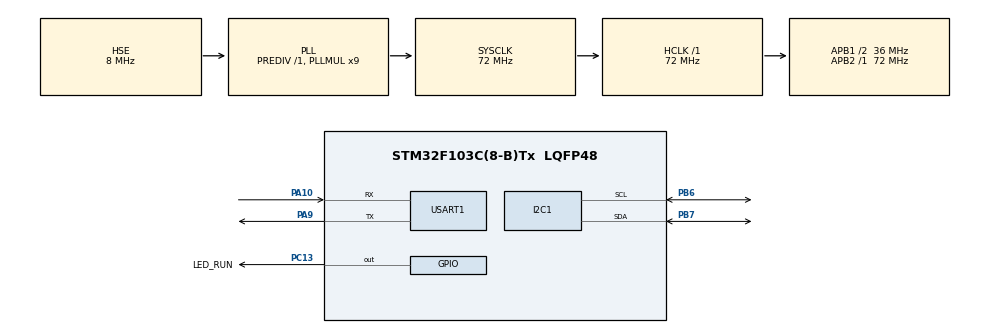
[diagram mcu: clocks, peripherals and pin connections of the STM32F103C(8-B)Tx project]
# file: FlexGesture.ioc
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Mcu.Family=STM32F1
Mcu.Name=STM32F103C(8-B)Tx
Mcu.Package=LQFP48
NVIC.PriorityGroup=NVIC_PRIORITYGROUP_4
PA10.Mode=Asynchronous
PA10.Signal=USART1_RX
PA13.Mode=Serial_Wire
PA13.Signal=SYS_JTMS-SWDIO
PA14.Mode=Serial_Wire
PA14.Signal=SYS_JTCK-SWCLK
PA9.Mode=Asynchronous
PA9.Signal=USART1_TX
PB6.Mode=I2C
PB6.Signal=I2C1_SCL
PB7.Mode=I2C
PB7.Signal=I2C1_SDA
PC13-TAMPER-RTC.GPIO_Label=LED_RUN
PC13-TAMPER-RTC.Signal=GPIO_Output
PD0-OSC_IN.Mode=HSE-External-Oscillator
PD0-OSC_IN.Signal=RCC_OSC_IN
PD1-OSC_OUT.Mode=HSE-External-Oscillator
PD1-OSC_OUT.Signal=RCC_OSC_OUT
ProjectManager.HeapSize=0x200
ProjectManager.StackSize=0x400
ProjectManager.TargetToolchain=STM32CubeIDE
RCC.AHBFreq_Value=72000000
RCC.APB1CLKDivider=RCC_HCLK_DIV2
RCC.APB1Freq_Value=36000000
RCC.APB1TimFreq_Value=72000000
RCC.APB2Freq_Value=72000000
RCC.APB2TimFreq_Value=72000000
RCC.HCLKFreq_Value=72000000
RCC.PLLMUL=RCC_PLL_MUL9
RCC.PLLSourceVirtual=RCC_PLLSOURCE_HSE
RCC.SYSCLKFreq_VALUE=72000000
RCC.SYSCLKSource=RCC_SYSCLKSOURCE_PLLCLK
RCC.USBFreq_Value=72000000
USART1.VirtualMode=VM_ASYNC
board=custom

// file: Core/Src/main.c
/* USER CODE BEGIN Header */
/**
  ******************************************************************************
  * @file           : main.c
  * @brief          : Main program body
  ******************************************************************************
  * @attention
  *
  * Copyright (c) 2026 STMicroelectronics.
  * All rights reserved.
  *
  * This software is licensed under terms that can be found in the LICENSE file
  * in the root directory of this software component.
  * If no LICENSE file comes with this software, it is provided AS-IS.
  *
  ******************************************************************************
  */
/* USER CODE END Header */
#include "main.h"
#include "i2c.h"
#include "usart.h"
#include "gpio.h"

/* USER CODE BEGIN Includes */
#include "app_gesture.h"
#include "app_mpu6050.h"
#include <stdio.h>

/* USER CODE END Includes */

/* USER CODE BEGIN PD */
#define SENSOR_READ_PERIOD_MS  20U
/* #define UART_PRINT_PERIOD_MS   200U */

/* USER CODE END PD */

/* USER CODE BEGIN PV */
static MPU6050_RawData_t mpu_raw;
static uint8_t mpu_ready = 0U;
static Gesture_t gesture = GESTURE_NONE;

/* USER CODE END PV */

void SystemClock_Config(void);

int main(void)
{

  /* MCU Configuration--------------------------------------------------------*/

  /* Reset of all peripherals, Initializes the Flash interface and the Systick. */
  HAL_Init();

  /* Configure the system clock */
  SystemClock_Config();

  /* Initialize all configured peripherals */
  MX_GPIO_Init();
  MX_I2C1_Init();
  MX_USART1_UART_Init();
  /* USER CODE BEGIN 2 */
  printf("FlexGesture start\r\n");

  if (MPU6050_Init(&hi2c1) == HAL_OK)
  {
    mpu_ready = 1U;
    Gesture_Init();
    printf("MPU6050 WHO_AM_I = 0x%02X\r\n", MPU6050_GetWhoAmI());
    printf("MPU6050 init OK\r\n");
  }
  else
  {
    printf("MPU6050 init failed\r\n");
  }

  uint32_t last_read_tick = HAL_GetTick();
  /* uint32_t last_print_tick = HAL_GetTick(); */
  uint32_t last_led_tick = HAL_GetTick();

  /* USER CODE END 2 */

  /* Infinite loop */
  /* USER CODE BEGIN WHILE */
  while (1)
  {
    uint32_t now = HAL_GetTick();

    if ((now - last_read_tick) >= SENSOR_READ_PERIOD_MS)
    {
      last_read_tick += SENSOR_READ_PERIOD_MS;

      if (mpu_ready != 0U)
      {
        if (MPU6050_ReadRaw(&hi2c1, &mpu_raw) != HAL_OK)
        {
          mpu_ready = 0U;
          printf("MPU6050 read failed\r\n");
        }
        else
        {
          gesture = Gesture_Update(mpu_raw.ax, mpu_raw.ay, mpu_raw.az,
                                   mpu_raw.gx, mpu_raw.gy, mpu_raw.gz);
          if (gesture != GESTURE_NONE)
          {
            printf("Gesture: %s\r\n", Gesture_ToString(gesture));
          }
        }
      }
    }

    /*
    if ((now - last_print_tick) >= UART_PRINT_PERIOD_MS)
    {
      last_print_tick += UART_PRINT_PERIOD_MS;

      if (mpu_ready != 0U)
      {
        printf("ax=%d ay=%d az=%d gx=%d gy=%d gz=%d\r\n",
               mpu_raw.ax, mpu_raw.ay, mpu_raw.az,
               mpu_raw.gx, mpu_raw.gy, mpu_raw.gz);
      }
    }
    */

    if ((now - last_led_tick) >= 500U)
    {
      last_led_tick += 500U;
      HAL_GPIO_TogglePin(LED_RUN_GPIO_Port, LED_RUN_Pin);
    }
    /* USER CODE END WHILE */

  }
}

void SystemClock_Config(void)
{
  RCC_OscInitTypeDef RCC_OscInitStruct = {0};
  RCC_ClkInitTypeDef RCC_ClkInitStruct = {0};

  /** Initializes the RCC Oscillators according to the specified parameters
  * in the RCC_OscInitTypeDef structure.
  */
  RCC_OscInitStruct.OscillatorType = RCC_OSCILLATORTYPE_HSE;
  RCC_OscInitStruct.HSEState = RCC_HSE_ON;
  RCC_OscInitStruct.HSEPredivValue = RCC_HSE_PREDIV_DIV1;
  RCC_OscInitStruct.HSIState = RCC_HSI_ON;
  RCC_OscInitStruct.PLL.PLLState = RCC_PLL_ON;
  RCC_OscInitStruct.PLL.PLLSource = RCC_PLLSOURCE_HSE;
  RCC_OscInitStruct.PLL.PLLMUL = RCC_PLL_MUL9;
  if (HAL_RCC_OscConfig(&RCC_OscInitStruct) != HAL_OK)
  {
    Error_Handler();
  }

  /** Initializes the CPU, AHB and APB buses clocks
  */
  RCC_ClkInitStruct.ClockType = RCC_CLOCKTYPE_HCLK|RCC_CLOCKTYPE_SYSCLK
                              |RCC_CLOCKTYPE_PCLK1|RCC_CLOCKTYPE_PCLK2;
  RCC_ClkInitStruct.SYSCLKSource = RCC_SYSCLKSOURCE_PLLCLK;
  RCC_ClkInitStruct.AHBCLKDivider = RCC_SYSCLK_DIV1;
  RCC_ClkInitStruct.APB1CLKDivider = RCC_HCLK_DIV2;
  RCC_ClkInitStruct.APB2CLKDivider = RCC_HCLK_DIV1;

  if (HAL_RCC_ClockConfig(&RCC_ClkInitStruct, FLASH_LATENCY_2) != HAL_OK)
  {
    Error_Handler();
  }
}

/* USER CODE BEGIN 4 */
int __io_putchar(int ch)
{
  HAL_UART_Transmit(&huart1, (uint8_t *)&ch, 1U, HAL_MAX_DELAY);
  return ch;
}

/* USER CODE END 4 */

void Error_Handler(void)
{
  __disable_irq();
  while (1)
  {
  }
}
